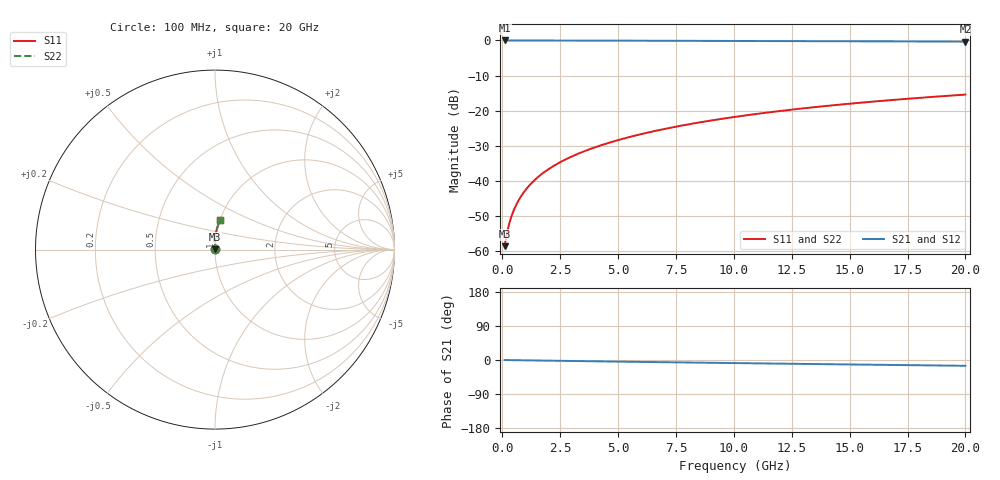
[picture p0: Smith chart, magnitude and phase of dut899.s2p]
! Touchstone file exported from HFSS 2024.1.0
!  File:  C:/UserFiles/LocalFiles/RDL_TSV_Batchsim/temp_RDL_bottom_899_1779866249.aedt
!  Generated:  03:19:58 PM May 27, 2026
!  Design:  RDL_bottom
!  Project:  temp_RDL_bottom_899_1779866249
!  Setup:  Setup1
!  Solution:  Sweep
! Variables:
!  dtsv = 10.80580581um
!  hbump = 3um
!  htsv = 57.46um
!  ldown = 187.68um
!  lrdl = 100um
!  p = 40
!  p1 = 51.11um
!  rhole = 1um
!  t = 450um
!  tdown = 4.25um
!  trdl = 3.915915916um
!  wdown = 22.7um
!  wrdl = 20um
# GHz S MA R 50.000000
! Terminal data exported
! Port[1] = RDL1_T1
! Port[2] = RDL1_T2
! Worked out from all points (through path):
!   200 points, 100 MHz to 20 GHz, reference 50 ohm
!   highest |S21| = -0.01 dB at 100 MHz (marker M1); lowest = -0.3 dB at 20 GHz (marker M2)
!   group delay of S21, straight-line fit = 2.1 ps
!   lowest |S11| = -58.6 dB at 100 MHz (marker M3), VSWR 1.00, Z = 50.1 + j0.0796 ohm
!   |S11| at or under -10 dB: start of sweep to end of sweep
!   |S22| runs from -58.6 to -15.4 dB; largest |S21 - S12| = 5.8e-15
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0.1  0.00118 42.3  0.9991 -0.1  0.9991 -0.1  0.00118 42.3
! Gamma 0 0 0 0
! Port Impedance 50 0 50 0
0.2  0.001804 59.4  0.9991 -0.2  0.9991 -0.2  0.001804 59.4
0.3  0.002476 67.3  0.999 -0.3  0.999 -0.3  0.002476 67.3
0.4  0.003161 72.0  0.999 -0.4  0.999 -0.4  0.003162 72.0
0.5  0.003856 75.2  0.9989 -0.5  0.9989 -0.5  0.003856 75.2
0.6  0.004558 77.5  0.9988 -0.5  0.9988 -0.5  0.004558 77.5
0.8  0.00598 80.5  0.9987 -0.7  0.9987 -0.7  0.00598 80.5
1.1  0.00814 83.3  0.9986 -1.0  0.9986 -1.0  0.00814 83.3
1.5  0.01106 85.4  0.9982 -1.3  0.9982 -1.3  0.01106 85.4
1.8  0.01327 86.4  0.9979 -1.6  0.9979 -1.6  0.01327 86.4
2.1  0.01549 87.2  0.9976 -1.9  0.9976 -1.9  0.01549 87.2
2.7  0.02001 88.3  0.9968 -2.4  0.9968 -2.4  0.02001 88.2
3.5  0.02616 89.1  0.9955 -3.1  0.9955 -3.1  0.02616 89.1
4.2  0.03168 89.6  0.9943 -3.6  0.9943 -3.6  0.03168 89.6
5  0.03814 89.8  0.9927 -4.3  0.9927 -4.3  0.03814 89.8
5.9  0.04559 89.9  0.9908 -5.0  0.9908 -5.0  0.04559 89.9
6.8  0.05321 89.7  0.9889 -5.7  0.9889 -5.7  0.05321 89.7
8.4  0.06708 89.0  0.9855 -6.9  0.9855 -6.9  0.06708 89.0
10.1  0.08211 87.9  0.9819 -8.2  0.9819 -8.2  0.08211 87.9
13.4  0.1116 85.3  0.9753 -10.6  0.9753 -10.6  0.1115 85.3
16.7  0.1408 82.5  0.9688 -13.0  0.9688 -13.0  0.1408 82.5
20  0.1694 79.7  0.9622 -15.3  0.9622 -15.3  0.1694 79.7
